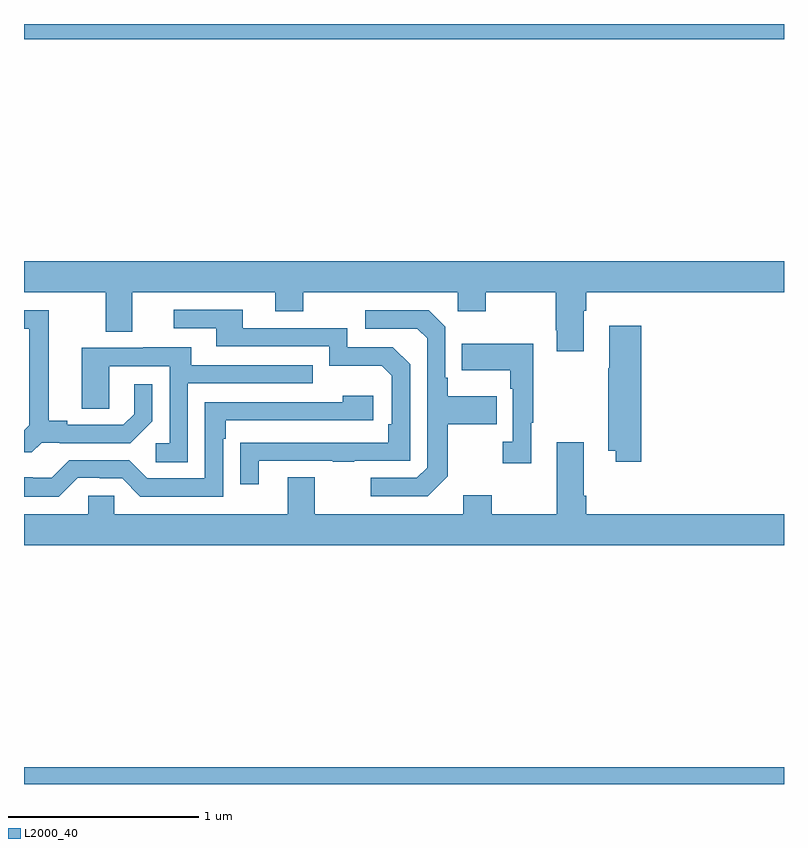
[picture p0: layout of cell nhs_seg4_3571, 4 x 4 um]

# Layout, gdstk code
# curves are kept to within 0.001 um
import gdstk
lib = gdstk.Library(unit=1e-6, precision=1e-09)
def R(c, l, rs):  # rectangles x0, y0, x1, y1
    for r in rs: c.add(gdstk.rectangle(r[:2], r[2:], *l))
def P(c, l, *ps):  # polygons
    for p in ps: c.add(gdstk.Polygon(p, *l))
L2000_40 = (2000, 40)

nhs_seg4_3571 = lib.new_cell('nhs_seg4_3571')
R(nhs_seg4_3571, L2000_40, [(299,792.9,303,792.988), (299,796.82,303,796.9)])
P(nhs_seg4_3571, L2000_40, [(299,795.488),(299.429,795.488),(299.429,795.28),(299.569,795.28),(299.569,795.488),(300.323,795.488),(300.323,795.389),(300.471,795.389),(300.471,795.488),(301.284,795.488),(301.284,795.389),(301.431,795.389),(301.431,795.488),(301.798,795.488),(301.798,795.289),(301.805,795.289),(301.805,795.177),(301.945,795.177),(301.945,795.392),(301.958,795.392),(301.958,795.488),(303,795.488),(303,795.652),(299,795.652)],
  [(300.235,794.601),(300.625,794.601),(300.625,794.596),(300.737,794.596),(300.737,794.601),(301.032,794.601),(301.032,795.108),(300.942,795.198),(300.702,795.198),(300.702,795.3),(300.151,795.3),(300.151,795.396),(299.787,795.396),(299.787,795.3),(300.011,795.3),(300.011,795.204),(300.606,795.204),(300.606,795.101),(300.883,795.101),(300.936,795.048),(300.936,794.794),(300.916,794.794),(300.916,794.697),(300.139,794.696),(300.139,794.478),(300.235,794.478)],
  [(299.094,794.697),(299.188,794.697),(299.188,794.694),(299.56,794.694),(299.676,794.81),(299.676,795.004),(299.579,795.004),(299.579,794.847),(299.522,794.79),(299.227,794.79),(299.227,794.813),(299.131,794.813),(299.131,795.393),(299,795.393),(299,795.297),(299.027,795.297),(299.027,794.789),(299,794.762),(299,794.645),(299.042,794.645)],
  [(301.231,794.521),(301.231,794.794),(301.487,794.794),(301.487,794.941),(301.231,794.941),(301.231,795.037),(301.218,795.037),(301.218,795.306),(301.131,795.393),(300.795,795.393),(300.795,795.297),(301.071,795.297),(301.122,795.246),(301.122,794.565),(301.068,794.511),(300.825,794.511),(300.825,794.415),(301.125,794.415)],
  [(302.249,795.313),(302.081,795.313),(302.081,795.089),(302.074,795.089),(302.074,794.654),(302.114,794.654),(302.114,794.595),(302.249,794.595)],
  [(301.669,794.801),(301.681,794.801),(301.681,795.217),(301.303,795.217),(301.303,795.077),(301.56,795.077),(301.56,794.981),(301.572,794.981),(301.572,794.702),(301.521,794.702),(301.521,794.589),(301.669,794.589)],
  [(299.862,795.009),(300.521,795.009),(300.521,795.105),(299.881,795.105),(299.881,795.199),(299.627,795.199),(299.627,795.195),(299.303,795.195),(299.303,794.875),(299.448,794.875),(299.448,795.099),(299.766,795.099),(299.766,794.694),(299.694,794.694),(299.694,794.593),(299.862,794.593)],
  [(299.283,794.511),(299.399,794.511),(299.399,794.508),(299.517,794.508),(299.613,794.412),(300.048,794.412),(300.048,794.717),(300.061,794.717),(300.061,794.814),(300.838,794.814),(300.838,794.944),(300.677,794.944),(300.677,794.91),(299.952,794.91),(299.952,794.508),(299.649,794.508),(299.553,794.604),(299.238,794.604),(299.145,794.511),(299.045,794.511),(299.045,794.515),(299,794.515),(299,794.411),(299.183,794.411)],
  [(303,794.32),(301.958,794.32),(301.958,794.416),(301.945,794.416),(301.945,794.698),(301.805,794.698),(301.805,794.32),(301.461,794.32),(301.461,794.419),(301.313,794.419),(301.313,794.32),(300.529,794.32),(300.529,794.515),(300.389,794.515),(300.389,794.32),(299.475,794.32),(299.475,794.418),(299.337,794.418),(299.337,794.32),(299,794.32),(299,794.156),(303,794.156)])

lib.write_gds('nhs_seg4_3571.gds')
